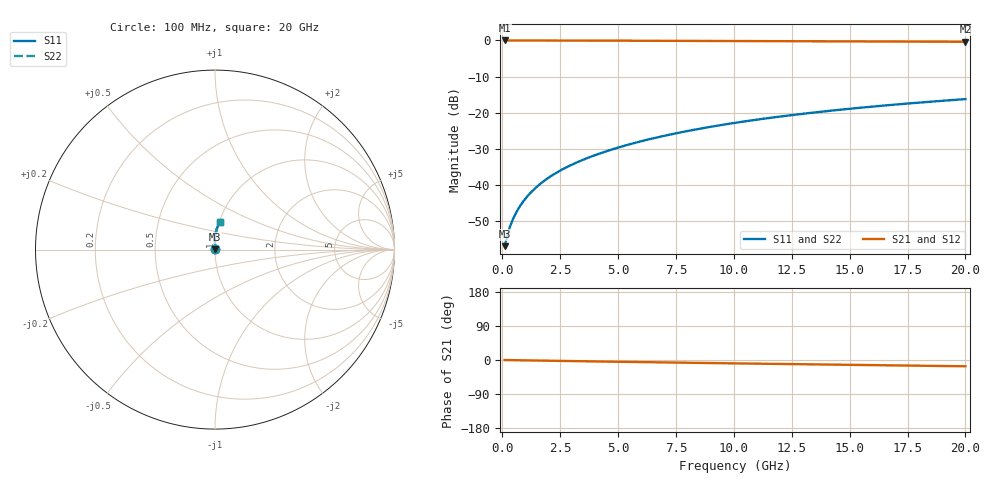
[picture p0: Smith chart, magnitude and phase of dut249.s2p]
! Touchstone file exported from HFSS 2024.1.0
!  File:  C:/UserFiles/LocalFiles/RDL_TSV_Batchsim/temp_RDL_top_249_1778688833.aedt
!  Generated:  12:16:12 AM May 14, 2026
!  Design:  RDL_top
!  Project:  temp_RDL_top_249_1778688833
!  Setup:  Setup1
!  Solution:  Sweep
! Variables:
!  dtsv = 10.80580581um
!  hbump = 3um
!  htsv = 73.65um
!  ldown = 100um
!  lrdl = 233.85um
!  p = 40
!  p1 = 42.92um
!  rhole = 1um
!  t = 450um
!  tdown = 3.915915916um
!  trdl = 3.5um
!  wdown = 15.38538539um
!  wrdl = 24.14um
# GHz S MA R 50.000000
! Terminal data exported
! Port[1] = Box2_T1
! Port[2] = Box2_T2
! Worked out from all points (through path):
!   200 points, 100 MHz to 20 GHz, reference 50 ohm
!   highest |S21| = -0.01 dB at 100 MHz (marker M1); lowest = -0.4 dB at 20 GHz (marker M2)
!   group delay of S21, straight-line fit = 2.27 ps
!   lowest |S11| = -57.0 dB at 100 MHz (marker M3), VSWR 1.00, Z = 50.1 + j0.0724 ohm
!   |S11| at or under -10 dB: start of sweep to end of sweep
!   |S22| runs from -57.0 to -16.3 dB; largest |S21 - S12| = 4.2e-15
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0.1  0.001415 30.7  0.9988 -0.1  0.9988 -0.1  0.001415 30.7
! Gamma 0 0 0 0
! Port Impedance 50 0 50 0
0.2  0.001902 47.6  0.9987 -0.2  0.9987 -0.2  0.001902 47.6
0.3  0.002449 56.6  0.9986 -0.3  0.9986 -0.3  0.002449 56.6
0.4  0.003004 62.2  0.9985 -0.4  0.9985 -0.4  0.003004 62.2
0.5  0.003563 66.3  0.9984 -0.5  0.9984 -0.5  0.003563 66.3
0.6  0.004127 69.5  0.9984 -0.6  0.9984 -0.6  0.004127 69.5
0.8  0.005275 74.0  0.9982 -0.8  0.9982 -0.8  0.005275 74.0
1  0.006449 77.2  0.9981 -1.0  0.9981 -1.0  0.006449 77.2
1.2  0.007642 79.5  0.998 -1.2  0.998 -1.2  0.007642 79.5
1.4  0.008851 81.3  0.9978 -1.4  0.9978 -1.4  0.008851 81.3
1.7  0.01069 83.3  0.9975 -1.6  0.9975 -1.6  0.01069 83.3
2.2  0.01382 85.6  0.9969 -2.1  0.9969 -2.1  0.01382 85.6
2.8  0.01768 87.5  0.996 -2.7  0.996 -2.7  0.01768 87.5
3.5  0.02233 88.9  0.9948 -3.3  0.9948 -3.3  0.02233 88.9
4.2  0.02713 89.9  0.9934 -4.0  0.9934 -4.0  0.02713 89.9
5  0.03281 90.5  0.9916 -4.7  0.9916 -4.7  0.03281 90.5
6.8  0.04626 90.9  0.9873 -6.3  0.9873 -6.3  0.04626 90.9
8.4  0.05884 90.5  0.9834 -7.6  0.9834 -7.6  0.05884 90.5
10.1  0.07261 89.4  0.9792 -9.0  0.9792 -9.0  0.07261 89.4
13.4  0.09986 86.7  0.9717 -11.6  0.9717 -11.6  0.09986 86.7
16.7  0.1271 83.6  0.9647 -14.1  0.9647 -14.1  0.1271 83.6
20  0.1538 80.5  0.9578 -16.6  0.9578 -16.6  0.1538 80.5
